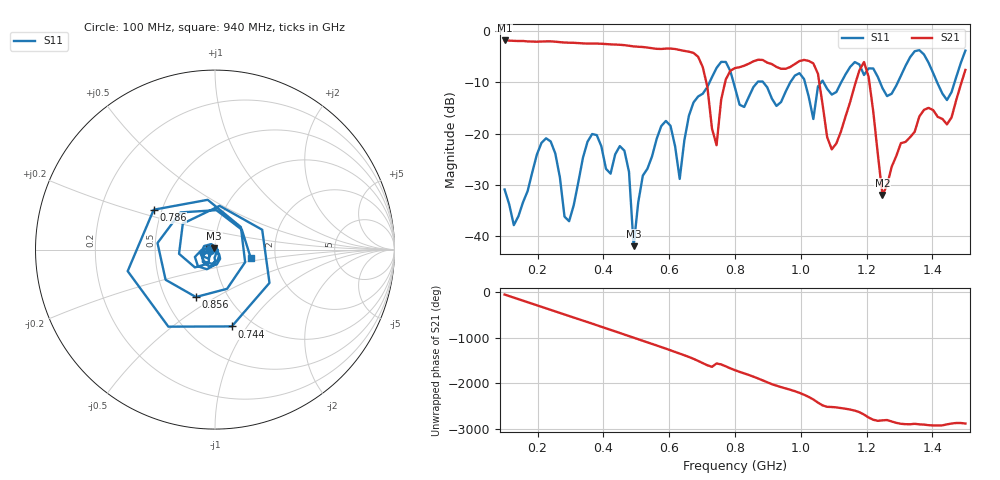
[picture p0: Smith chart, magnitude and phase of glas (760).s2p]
! NanoVNA-App
! Date: 2025-09-25 16:01:23
! Start: 100MHz Stop: 1,5GHz Points: 101
! S-Parameter data: F S11 S21 S12 S22
# Hz S RI R 50
!  Frequency  S11_Real  S11_Imag  S21_Real  S21_Imag  S12_Real  S12_Imag  S22_Real  S22_Imag
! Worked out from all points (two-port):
!   101 points, 100 MHz to 1.5 GHz, reference 50 ohm
!   highest |S21| = -1.80 dB at 100 MHz (marker M1); lowest = -32.0 dB at 1.248 GHz (marker M2)
!   |S21| within 3 dB of the highest: start of sweep to 684.5 MHz
!   lowest |S11| = -42.0 dB at 492 MHz (marker M3), VSWR 1.02, Z = 49.5 + j0.61 ohm
!   |S11| at or under -10 dB: start of sweep to 722.5 MHz; 795.5 MHz to 867.8 MHz (72.28 MHz wide, 8.69 % of centre); 886.1 MHz to 967.8 MHz (81.72 MHz wide, 8.82 % of centre) (the widest 3 of 7)
!   S12 and S22 are empty: the file has one direction only
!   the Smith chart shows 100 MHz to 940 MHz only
!   S11 on the Smith chart (normalised r, x): 100 MHz: 0.94, -0.01; 744 MHz: 0.80, -0.85; 786 MHz: 0.45, +0.24; 856 MHz: 0.71, -0.41; 940 MHz: 1.49, -0.14
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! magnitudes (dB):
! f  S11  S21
! 100 MHz  -30.9  -1.8
! 128 MHz  -37.9  -1.9
! 226 MHz  -20.9  -2.0
! 296 MHz  -37.1  -2.2
! 338 MHz  -24.7  -2.4
! 464 MHz  -23.3  -2.7
! 492 MHz  -42.0  -3.0
! 576 MHz  -18.5  -3.5
! 632 MHz  -28.9  -3.7
! 702 MHz  -12.2  -7.0
! 744 MHz  -7.2  -22.3
! 786 MHz  -7.8  -7.7
! 800 MHz  -11.0  -7.2
! 856 MHz  -10.9  -5.9
! 940 MHz  -13.8  -7.3
! 1.038 GHz  -17.2  -6.3
! 1.094 GHz  -12.4  -23.1
! 1.192 GHz  -8.6  -6.0
! 1.248 GHz  -11.1  -32.0
! 1.276 GHz  -12.2  -26.5
! 1.444 GHz  -13.4  -18.2
! 1.5 GHz  -3.8  -7.6
